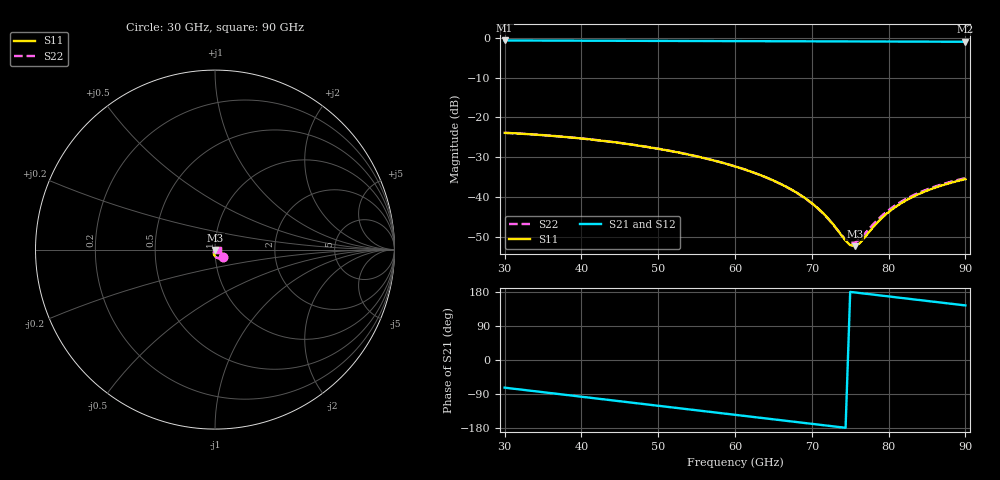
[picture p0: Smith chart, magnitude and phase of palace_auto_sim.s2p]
#  GHZ S DB R 50
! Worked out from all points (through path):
!   101 points, 30 GHz to 90 GHz, reference 50 ohm
!   highest |S21| = -0.68 dB at 30 GHz (marker M1); lowest = -1.0 dB at 90 GHz (marker M2)
!   group delay of S21, straight-line fit = 6.62 ps
!   lowest |S11| = -52.3 dB at 75.6 GHz (marker M3), VSWR 1.00, Z = 50.2 - j0.185 ohm
!   |S11| at or under -10 dB: start of sweep to end of sweep
!   |S22| runs from -51.5 to -23.9 dB; largest |S21 - S12| = 1.1e-14
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30  -23.87 -42.7  -0.68 -73.0  -0.68 -73.0  -23.86 -42.8
35.4  -24.51 -54.3  -0.71 -85.9  -0.71 -85.9  -24.50 -54.4
40.2  -25.33 -64.5  -0.74 -97.4  -0.74 -97.4  -25.31 -64.6
45  -26.41 -74.7  -0.77 -108.8  -0.77 -108.8  -26.39 -74.8
50.4  -28.01 -86.0  -0.80 -121.7  -0.80 -121.7  -27.99 -86.0
55.8  -30.13 -96.8  -0.83 -134.6  -0.83 -134.6  -30.11 -96.9
60  -32.29 -104.8  -0.85 -144.6  -0.85 -144.6  -32.29 -104.7
63  -34.26 -109.9  -0.86 -151.8  -0.86 -151.8  -34.27 -109.7
66  -36.74 -114.0  -0.88 -158.9  -0.88 -158.9  -36.77 -113.6
68.4  -39.33 -115.8  -0.89 -164.6  -0.89 -164.6  -39.38 -115.1
70.2  -41.83 -115.3  -0.90 -168.9  -0.90 -168.9  -41.91 -114.0
72  -45.10 -110.8  -0.91 -173.2  -0.91 -173.2  -45.19 -108.4
74.4  -50.93 -83.5  -0.92 -178.9  -0.92 -178.9  -50.64 -78.1
75  -52.05 -67.9  -0.93 179.7  -0.93 179.7  -51.45 -62.6
75.6  -52.32 -49.6  -0.93 178.2  -0.93 178.2  -51.44 -45.5
76.2  -51.62 -32.4  -0.93 176.8  -0.93 176.8  -50.65 -30.4
78.6  -46.24 -0.2  -0.95 171.1  -0.95 171.1  -45.61 -1.5
80.4  -43.16 5.3  -0.96 166.8  -0.96 166.8  -42.70 3.8
82.2  -40.91 6.4  -0.97 162.5  -0.97 162.5  -40.53 4.8
84.6  -38.69 4.9  -0.98 156.8  -0.98 156.8  -38.38 3.5
87  -37.04 2.1  -0.99 151.1  -0.99 151.1  -36.76 0.7
90  -35.50 -2.4  -1.01 144.0  -1.01 144.0  -35.25 -3.7
